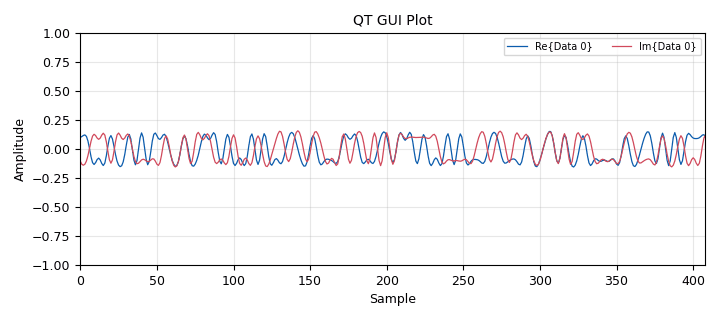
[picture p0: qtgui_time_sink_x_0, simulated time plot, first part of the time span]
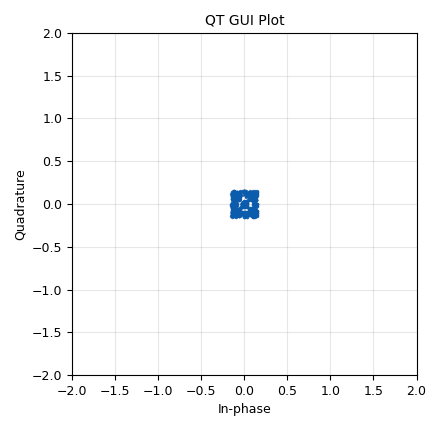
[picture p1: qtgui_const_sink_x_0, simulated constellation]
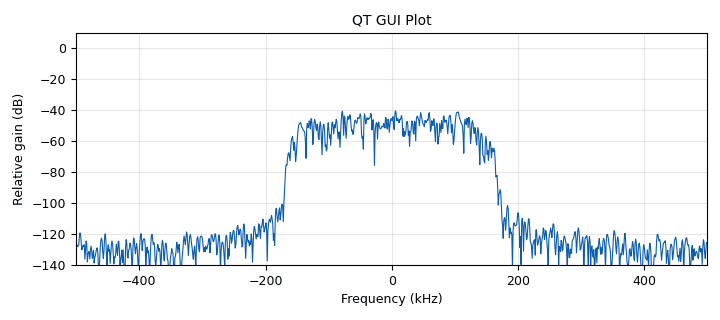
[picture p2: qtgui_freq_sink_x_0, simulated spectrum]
<?xml version='1.0' encoding='utf-8'?>
<flow_graph>
<block>
<key>options</key>
<param><key>id</key><value>uhd_psk_transmitter</value></param>
<param><key>generate_options</key><value>qt_gui</value></param>
<param><key>category</key><value>Custom</value></param>
</block>
<block>
<key>variable</key>
<param><key>id</key><value>arity</value></param>
<param><key>value</key><value>4</value></param>
</block>
<block>
<key>import</key>
<param><key>id</key><value>import_math</value></param>
<param><key>import</key><value>import math</value></param>
</block>
<block>
<key>variable</key>
<param><key>id</key><value>sps</value></param>
<param><key>value</key><value>4</value></param>
</block>
<block>
<key>gr_multiply_const_vxx</key>
<param><key>id</key><value>gr_multiply_const_vxx_0</value></param>
<param><key>type</key><value>complex</value></param>
<param><key>const</key><value>amp*complex(1,1)</value></param>
<param><key>vlen</key><value>1</value></param>
</block>
<block>
<key>variable_qtgui_range</key>
<param><key>id</key><value>freq</value></param>
<param><key>label</key><value>Frequency</value></param>
<param><key>value</key><value>431e6</value></param>
<param><key>start</key><value>400e6</value></param>
<param><key>stop</key><value>500e6</value></param>
<param><key>step</key><value>1e6</value></param>
<param><key>orient</key><value>Qt.Horizontal</value></param>
</block>
<block>
<key>variable</key>
<param><key>id</key><value>samp_rate</value></param>
<param><key>value</key><value>1e6</value></param>
</block>
<block>
<key>random_source_x</key>
<param><key>id</key><value>random_source_x_0</value></param>
<param><key>type</key><value>byte</value></param>
<param><key>min</key><value>0</value></param>
<param><key>max</key><value>256</value></param>
<param><key>num_samps</key><value>1000000</value></param>
<param><key>repeat</key><value>True</value></param>
</block>
<block>
<key>digital_psk_mod</key>
<param><key>id</key><value>digital_psk_mod_0</value></param>
<param><key>constellation_points</key><value>arity</value></param>
<param><key>mod_code</key><value>"gray"</value></param>
<param><key>differential</key><value>True</value></param>
<param><key>samples_per_symbol</key><value>sps</value></param>
<param><key>excess_bw</key><value>0.35</value></param>
</block>
<block>
<key>variable_qtgui_range</key>
<param><key>id</key><value>amp</value></param>
<param><key>label</key><value>Ampitude</value></param>
<param><key>value</key><value>0.1</value></param>
<param><key>start</key><value>0</value></param>
<param><key>stop</key><value>0.2</value></param>
<param><key>step</key><value>0.001</value></param>
<param><key>orient</key><value>Qt.Horizontal</value></param>
<param><key>gui_hint</key><value>2,0,1,1</value></param>
</block>
<block>
<key>variable_qtgui_range</key>
<param><key>id</key><value>gain</value></param>
<param><key>label</key><value>TX Gain</value></param>
<param><key>value</key><value>10</value></param>
<param><key>start</key><value>0</value></param>
<param><key>stop</key><value>31.5</value></param>
<param><key>step</key><value>0.5</value></param>
<param><key>orient</key><value>Qt.Horizontal</value></param>
<param><key>gui_hint</key><value>2,1,1,1</value></param>
</block>
<block>
<key>uhd_usrp_sink</key>
<param><key>id</key><value>uhd_usrp_sink_0</value></param>
<param><key>type</key><value>fc32</value></param>
<param><key>dev_addr</key><value>addr=192.168.10.2</value></param>
<param><key>sync</key><value></value></param>
<param><key>clock_rate</key><value>0.0</value></param>
<param><key>samp_rate</key><value>samp_rate</value></param>
<param><key>center_freq0</key><value>freq</value></param>
<param><key>gain0</key><value>gain</value></param>
<param><key>ant0</key><value>TX/RX</value></param>
</block>
<block>
<key>qtgui_time_sink_x</key>
<param><key>id</key><value>qtgui_time_sink_x_0</value></param>
<param><key>type</key><value>complex</value></param>
<param><key>name</key><value>QT GUI Plot</value></param>
<param><key>size</key><value>1024</value></param>
<param><key>bw</key><value>samp_rate</value></param>
<param><key>gui_hint</key><value>0,0,1,1</value></param>
</block>
<block>
<key>qtgui_const_sink_x</key>
<param><key>id</key><value>qtgui_const_sink_x_0</value></param>
<param><key>type</key><value>complex</value></param>
<param><key>name</key><value>QT GUI Plot</value></param>
<param><key>size</key><value>1024</value></param>
<param><key>gui_hint</key><value>0,1,1,1</value></param>
</block>
<block>
<key>qtgui_freq_sink_x</key>
<param><key>id</key><value>qtgui_freq_sink_x_0</value></param>
<param><key>type</key><value>complex</value></param>
<param><key>name</key><value>QT GUI Plot</value></param>
<param><key>fftsize</key><value>1024</value></param>
<param><key>wintype</key><value>firdes.WIN_BLACKMAN_hARRIS</value></param>
<param><key>fc</key><value>0</value></param>
<param><key>bw</key><value>samp_rate</value></param>
<param><key>rate</key><value>10</value></param>
<param><key>gui_hint</key><value>1,0,1,2</value></param>
</block>
<connection><source_block_id>digital_psk_mod_0</source_block_id><sink_block_id>gr_multiply_const_vxx_0</sink_block_id><source_key>0</source_key><sink_key>0</sink_key></connection>
<connection><source_block_id>random_source_x_0</source_block_id><sink_block_id>digital_psk_mod_0</sink_block_id><source_key>0</source_key><sink_key>0</sink_key></connection>
<connection><source_block_id>gr_multiply_const_vxx_0</source_block_id><sink_block_id>uhd_usrp_sink_0</sink_block_id><source_key>0</source_key><sink_key>0</sink_key></connection>
<connection><source_block_id>gr_multiply_const_vxx_0</source_block_id><sink_block_id>qtgui_time_sink_x_0</sink_block_id><source_key>0</source_key><sink_key>0</sink_key></connection>
<connection><source_block_id>gr_multiply_const_vxx_0</source_block_id><sink_block_id>qtgui_const_sink_x_0</sink_block_id><source_key>0</source_key><sink_key>0</sink_key></connection>
<connection><source_block_id>gr_multiply_const_vxx_0</source_block_id><sink_block_id>qtgui_freq_sink_x_0</sink_block_id><source_key>0</source_key><sink_key>0</sink_key></connection>
</flow_graph>
